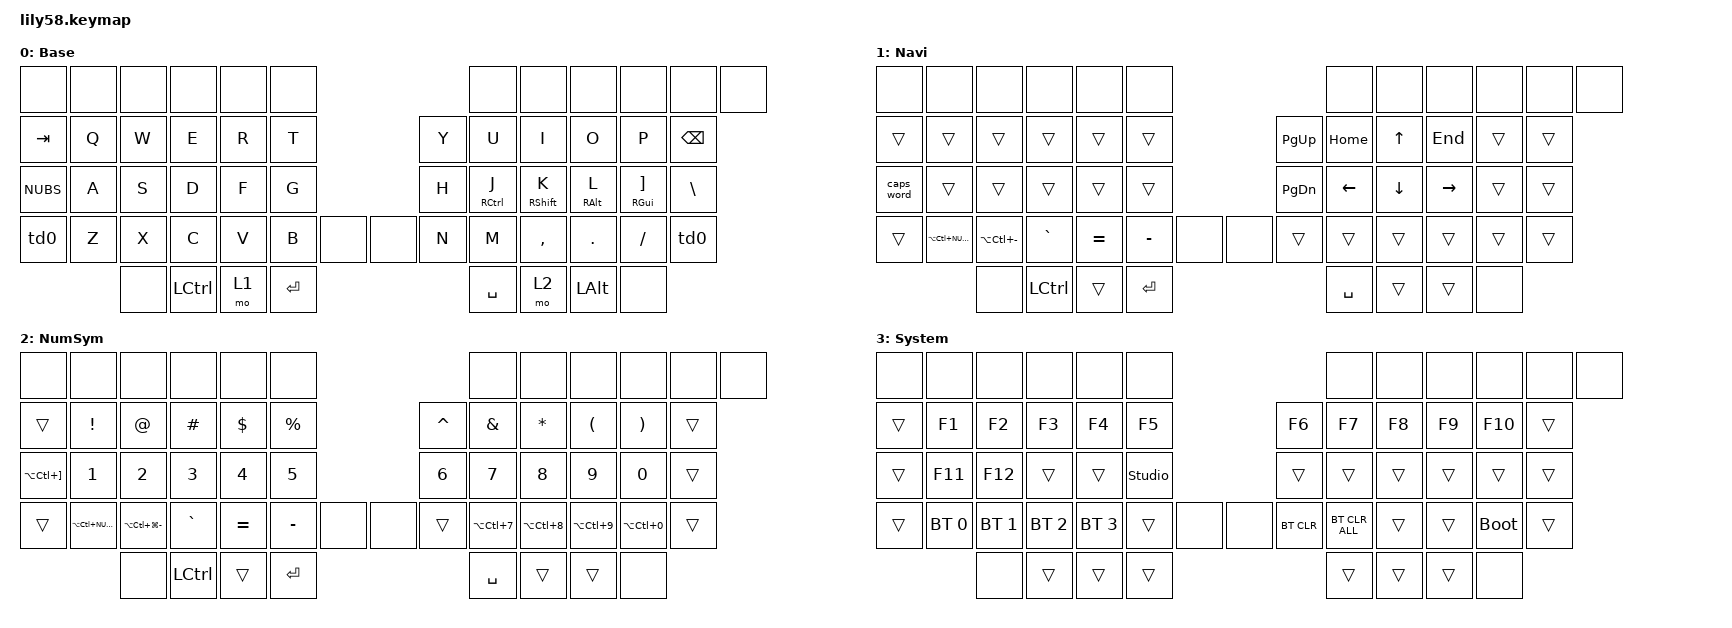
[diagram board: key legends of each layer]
#include <behaviors.dtsi>
#include <dt-bindings/zmk/bt.h>
#include <dt-bindings/zmk/keys.h>
#include <dt-bindings/zmk/pointing.h>

#define DEF 0
#define NAV 1
#define SYM 2
#define ADJ 3
#define EXTRA 4

#define COMBO(NAME, BINDINGS, KEYPOS) \
    combo_##NAME { \
        timeout-ms = <50>; \
        bindings = <BINDINGS>; \
        key-positions = <KEYPOS>; \
        layers = <0>; \
        };


//Row 0:      0   1   2   3   4   5               6   7   8   9   10  11
//Row 1:     12  13  14  15  16  17               18  19  20  21  22  23
//Row 2:     24  25  26  27  28  29               30  31  32  33  34  35
//Row 3:     36  37  38  39  40  41  42      43   44  45  46  47  48  49
//Thumb:                 50  51  52  53      54   55  56  57   

/ {

        combos {
    compatible = "zmk,combos";
        COMBO(ue, &kp LBKT, 19 15)
        COMBO(ae, &kp SQT, 25 15)
        COMBO(oe, &kp SEMI, 21 15)
        COMBO(win,&kp RGUI, 55 56)
        COMBO(esc,&kp ESC, 12 13)
        COMBO(delte,&kp DEL, 22 23)
        COMBO(at,&kp LA(LC(Q)), 13 25)
    }; //The first parameter is just an internal name, the second one the keypress we want to execute during the combo, and the last one is for the key positions.


    behaviors {

        td0: tap_dance_0 {
            compatible = "zmk,behavior-tap-dance";
            #binding-cells = <0>;
            tapping-term-ms = <200>;
            bindings = <&kp LSHFT>, <&caps_word>;
        };

        ht: hold_tap {
            compatible = "zmk,behavior-hold-tap";
            flavor = "balanced";
            tapping-term-ms = <300>;
            label = "HOLD_TAP";
            #binding-cells = <2>;
            bindings = <&kp>, <&kp>;
        };
        hm: homerow_mods {
            compatible = "zmk,behavior-hold-tap";
            label = "HOMEROW_MODS";
            #binding-cells = <2>;
            tapping-term-ms = <200>;
            quick_tap_ms = <0>;
            flavor = "tap-preferred";
            bindings = <&kp>, <&kp>;
            quick-tap-ms = <180>;
            global-quick-tap;
        };
    };

keymap {
    compatible = "zmk,keymap";

DEF {
    display-name = "Base";
    bindings = <
&none         &none           &none     &none     &none     &none                                   &none       &none          &none          &none         &none            &none
&kp TAB          &kp Q       &kp W      &kp E       &kp R   &kp T                                   &kp Y       &kp U         &kp I          &kp O          &kp P           &kp BACKSPACE
&kp NUBS         &kp A       &kp S      &kp D       &kp F   &kp G                                   &kp H       &hm RCTRL J   &hm RSHFT K    &hm RALT L     &hm RGUI RBKT   &kp BSLH
&td0             &kp Z       &kp X      &kp C       &kp V   &kp B        &none         &none                  &kp N       &kp M         &kp COMMA      &kp DOT        &kp FSLH        &td0
                               &none         &kp LCTRL   &mo 1   &kp RET                                 &kp SPACE   &mo 2         &kp LEFT_ALT      &none
            >;
        };

        NAV {
            display-name = "Navi";
            bindings = <
&none         &none           &none     &none     &none     &none                                                                &none       &none          &none          &none         &none            &none
&trans       &trans      &trans      &trans       &trans       &trans                                                           &kp PG_UP        &kp HOME        &kp UP      &kp END     &trans      &trans
&caps_word   &trans      &trans      &trans       &trans       &trans                                                           &kp PG_DN        &kp LEFT        &kp DOWN    &kp RIGHT   &trans      &trans
&trans      &kp LA(LC(NUBS))     &kp LA(LC(MINUS))       &kp GRAVE    &kp EQUAL    &kp MINUS        &none         &none           &trans           &trans          &trans      &trans      &trans      &trans
                                &none          &kp LCTRL    &trans         &kp RET                                                      &kp SPACE        &trans          &trans   &none 
            >;
        };

        SYM {
            display-name = "NumSym";
            bindings = <
&none         &none           &none     &none     &none     &none                                                                        &none       &none          &none          &none         &none            &none
&trans      &kp EXCLAMATION  &kp AT_SIGN         &kp HASH    &kp DOLLAR    &kp PERCENT    &kp CARET                                    &kp AMPERSAND         &kp ASTERISK      &kp LEFT_PARENTHESIS    &kp RIGHT_PARENTHESIS     &trans
&kp LA(LC(RIGHT_BRACKET))      &kp N1           &kp N2              &kp N3      &kp N4        &kp N5         &kp N6                                        &kp N7                &kp N8            &kp N9                  &kp N0                    &trans
&trans   &kp LA(LC(NUBS))       &kp LA(LC(LG(MINUS)))   &kp GRAVE   &kp EQUAL     &kp MINUS     &none         &none                      &trans        &kp LA(LC(N7))        &kp LA(LC(N8))    &kp LA(LC(N9))          &kp LA(LC(N0))            &trans
                           &none             &kp LCTRL        &trans      &kp RET                                                               &kp SPACE      &trans        &trans    &none    
            >;
        };

ADJ {
    display-name = "System";
    bindings = <
&none         &none           &none     &none     &none     &none                                            &none       &none          &none          &none         &none            &none
&trans  &kp F1        &kp F2        &kp F3        &kp F4        &kp F5                                      &kp F6      &kp F7            &kp F8  &kp F9  &kp F10         &trans
&trans  &kp F11       &kp F12       &trans        &trans        &studio_unlock                              &trans      &trans            &trans  &trans  &trans          &trans
&trans  &bt BT_SEL 0  &bt BT_SEL 1  &bt BT_SEL 2  &bt BT_SEL 3  &trans             &none         &none      &bt BT_CLR  &bt BT_CLR_ALL    &trans  &trans  &bootloader     &trans
                            &none          &trans        &trans        &trans                                       &trans      &trans            &trans      &none 
            >;
        };
    };

    conditional_layers {
        compatible = "zmk,conditional-layers";

        l3 {
            if-layers = <1 2>;
            then-layer = <3>;
        };
    };
};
